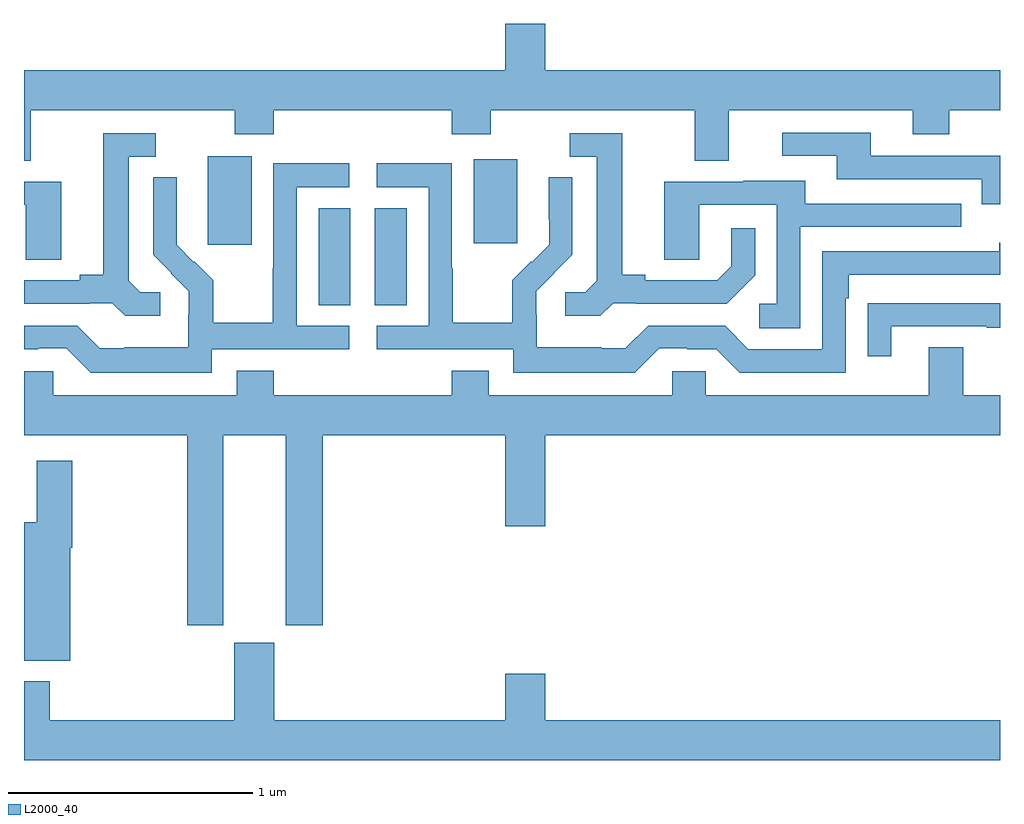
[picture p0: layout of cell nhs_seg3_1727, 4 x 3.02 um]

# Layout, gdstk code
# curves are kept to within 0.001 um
import gdstk
lib = gdstk.Library(unit=1e-6, precision=1e-09)
def R(c, l, rs):  # rectangles x0, y0, x1, y1
    for r in rs: c.add(gdstk.rectangle(r[:2], r[2:], *l))
def P(c, l, *ps):  # polygons
    for p in ps: c.add(gdstk.Polygon(p, *l))
L2000_40 = (2000, 40)

nhs_seg3_1727 = lib.new_cell('nhs_seg3_1727')
R(nhs_seg3_1727, L2000_40, [(200.207,746.737,200.338,747.134), (200.438,746.737,200.569,747.134), (199.754,746.985,199.933,747.346), (200.843,746.99,201.022,747.334)])
P(nhs_seg3_1727, L2000_40, [(199.027,747.536),(199.864,747.536),(199.864,747.437),(200.024,747.437),(200.024,747.536),(200.753,747.536),(200.753,747.437),(200.913,747.437),(200.913,747.536),(201.749,747.536),(201.749,747.328),(201.889,747.328),(201.889,747.536),(202.643,747.536),(202.643,747.437),(202.791,747.437),(202.791,747.536),(203,747.536),(203,747.7),(201.136,747.7),(201.136,747.889),(200.972,747.889),(200.972,747.7),(199,747.7),(199,747.328),(199.027,747.328)],
  [(203,747.348),(202.471,747.348),(202.471,747.444),(202.107,747.444),(202.107,747.348),(202.331,747.348),(202.331,747.252),(202.926,747.252),(202.926,747.149),(203,747.149)],
  [(201.414,746.745),(201.508,746.745),(201.508,746.742),(201.88,746.742),(201.996,746.858),(201.996,747.052),(201.899,747.052),(201.899,746.895),(201.842,746.838),(201.547,746.838),(201.547,746.861),(201.451,746.861),(201.451,747.441),(201.237,747.441),(201.237,747.345),(201.347,747.345),(201.347,746.837),(201.3,746.79),(201.219,746.79),(201.219,746.693),(201.362,746.693)],
  [(199.558,746.79),(199.476,746.79),(199.429,746.837),(199.429,747.345),(199.54,747.345),(199.54,747.441),(199.325,747.441),(199.325,746.861),(199.229,746.861),(199.229,746.838),(199,746.838),(199,746.742),(199.268,746.742),(199.268,746.745),(199.362,746.745),(199.414,746.693),(199.558,746.693)],
  [(201.603,746.559),(201.719,746.559),(201.719,746.556),(201.837,746.556),(201.933,746.46),(202.368,746.46),(202.368,746.765),(202.381,746.765),(202.381,746.862),(203,746.862),(203,746.992),(202.997,746.992),(202.997,746.958),(202.272,746.958),(202.272,746.556),(201.969,746.556),(201.873,746.652),(201.558,746.652),(201.465,746.559),(201.365,746.559),(201.365,746.563),(201.102,746.563),(201.102,746.697),(201.1,746.697),(201.1,746.794),(201.246,746.942),(201.246,747.26),(201.15,747.26),(201.15,747.088),(201.152,747.088),(201.152,746.984),(201.081,746.913),(201.078,746.916),(201.001,746.839),(201.001,746.665),(200.757,746.665),(200.757,746.888),(200.754,746.888),(200.754,747.318),(200.445,747.318),(200.445,747.219),(200.658,747.219),(200.658,746.652),(200.445,746.652),(200.445,746.556),(201.006,746.556),(201.006,746.459),(201.503,746.459)],
  [(199.77,746.556),(200.332,746.556),(200.332,746.652),(200.118,746.652),(200.118,747.219),(200.332,747.219),(200.332,747.318),(200.022,747.318),(200.022,746.888),(200.02,746.888),(200.02,746.665),(199.775,746.665),(199.775,746.839),(199.698,746.916),(199.695,746.913),(199.625,746.984),(199.626,747.26),(199.53,747.26),(199.53,746.942),(199.676,746.794),(199.676,746.697),(199.674,746.697),(199.674,746.563),(199.411,746.563),(199.411,746.559),(199.311,746.559),(199.218,746.652),(199,746.652),(199,746.556),(199.058,746.556),(199.058,746.559),(199.173,746.559),(199.273,746.459),(199.77,746.459)],
  [(202.182,747.057),(202.841,747.057),(202.841,747.153),(202.201,747.153),(202.201,747.247),(201.947,747.247),(201.947,747.243),(201.623,747.243),(201.623,746.923),(201.768,746.923),(201.768,747.147),(202.086,747.147),(202.086,746.742),(202.014,746.742),(202.014,746.641),(202.182,746.641)],
  [(199.153,747.243),(199,747.243),(199,747.147),(199.008,747.147),(199.008,746.923),(199.153,746.923)],
  [(202.555,746.649),(202.945,746.649),(202.945,746.644),(203,746.644),(203,746.745),(202.561,746.745),(202.561,746.744),(202.459,746.744),(202.459,746.526),(202.555,746.526)],
  [(199.816,746.204),(200.072,746.204),(200.072,745.425),(200.225,745.425),(200.225,746.204),(200.972,746.204),(200.972,745.83),(201.136,745.83),(201.136,746.204),(203,746.204),(203,746.368),(202.849,746.368),(202.849,746.563),(202.709,746.563),(202.709,746.368),(201.795,746.368),(201.795,746.466),(201.657,746.466),(201.657,746.368),(200.905,746.368),(200.905,746.467),(200.753,746.467),(200.753,746.368),(200.024,746.368),(200.024,746.467),(199.871,746.467),(199.871,746.368),(199.119,746.368),(199.119,746.466),(199,746.466),(199,746.204),(199.669,746.204),(199.669,745.425),(199.816,745.425)],
  [(199.189,745.742),(199.197,745.742),(199.197,746.098),(199.052,746.098),(199.052,745.846),(199,745.846),(199,745.28),(199.189,745.28)],
  [(203,745.036),(201.136,745.036),(201.136,745.225),(200.972,745.225),(200.972,745.036),(200.026,745.036),(200.026,745.353),(199.862,745.353),(199.862,745.036),(199.106,745.036),(199.106,745.195),(199,745.195),(199,744.872),(203,744.872)])

lib.write_gds('nhs_seg3_1727.gds')
